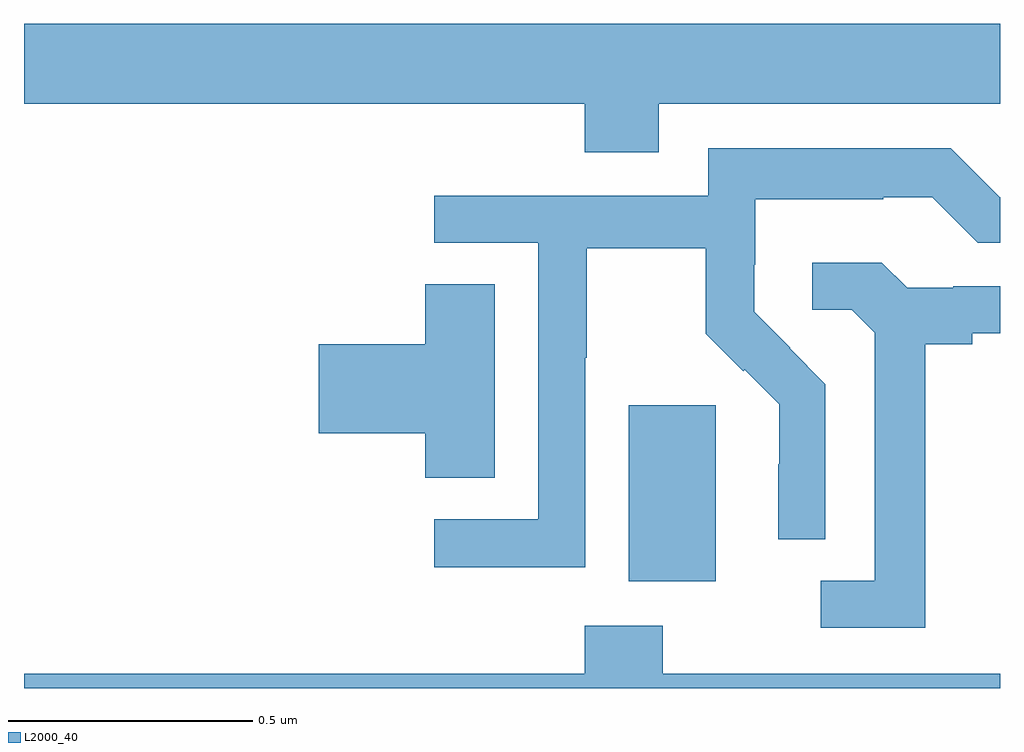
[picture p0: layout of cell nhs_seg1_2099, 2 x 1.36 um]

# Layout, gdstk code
import gdstk
lib = gdstk.Library(unit=1e-6, precision=1e-09)
def R(c, l, rs):  # rectangles x0, y0, x1, y1
    for r in rs: c.add(gdstk.rectangle(r[:2], r[2:], *l))
def P(c, l, *ps):  # polygons
    for p in ps: c.add(gdstk.Polygon(p, *l))
L2000_40 = (2000, 40)

nhs_seg1_2099 = lib.new_cell('nhs_seg1_2099')
R(nhs_seg1_2099, L2000_40, [(138.239,553.418,138.418,553.779)])
P(nhs_seg1_2099, L2000_40, [(138.301,554.396),(139,554.396),(139,554.56),(137,554.56),(137,554.396),(138.149,554.396),(138.149,554.297),(138.301,554.297)],
  [(138.15,553.876),(138.153,553.876),(138.153,554.1),(138.397,554.1),(138.397,553.925),(138.474,553.848),(138.477,553.851),(138.548,553.781),(138.548,553.658),(138.546,553.658),(138.546,553.504),(138.642,553.504),(138.642,553.822),(138.569,553.895),(138.57,553.896),(138.496,553.97),(138.496,554.067),(138.498,554.067),(138.498,554.201),(138.761,554.201),(138.761,554.205),(138.861,554.205),(138.954,554.112),(139,554.112),(139,554.205),(138.999,554.205),(138.899,554.305),(138.402,554.305),(138.402,554.208),(137.841,554.208),(137.841,554.112),(138.054,554.112),(138.054,553.545),(137.841,553.545),(137.841,553.447),(138.15,553.447)],
  [(138.847,553.904),(138.943,553.904),(138.943,553.926),(139,553.926),(139,554.022),(138.904,554.022),(138.904,554.019),(138.81,554.019),(138.758,554.071),(138.615,554.071),(138.615,553.974),(138.696,553.974),(138.743,553.927),(138.743,553.419),(138.633,553.419),(138.633,553.323),(138.847,553.323)],
  [(137.965,554.027),(137.822,554.027),(137.822,553.904),(137.604,553.904),(137.604,553.721),(137.822,553.721),(137.822,553.63),(137.965,553.63)],
  [(139,553.228),(138.309,553.228),(138.309,553.327),(138.149,553.327),(138.149,553.228),(137,553.228),(137,553.199),(139,553.199)])

lib.write_gds('nhs_seg1_2099.gds')
